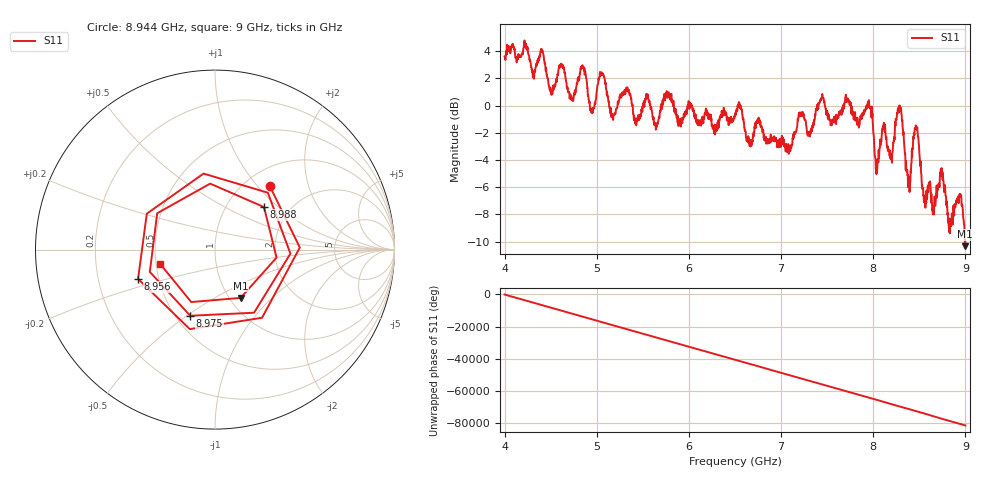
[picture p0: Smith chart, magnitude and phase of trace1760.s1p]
! Created with skrf 1.8.0 (http://scikit-rf.org).
# Hz S RI R 50.0
!freq ReS11 ImS11
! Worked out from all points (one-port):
!   1601 points, 4 GHz to 9 GHz, reference 50 ohm
!   lowest |S11| = -10.3 dB at 8.994 GHz (marker M1), VSWR 1.88, Z = 56.2 - j33.3 ohm
!   |S11| at or under -10 dB: 8.993117 GHz to 8.996175 GHz (3.058 MHz wide, 0.034 % of centre); 8.99929 GHz to end of sweep
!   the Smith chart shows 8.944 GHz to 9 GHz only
!   S11 on the Smith chart (normalised r, x): 8.944 GHz: 1.29, +1.16; 8.956 GHz: 0.38, -0.16; 8.975 GHz: 0.59, -0.52; 8.988 GHz: 1.49, +0.81; 9 GHz: 0.53, -0.10
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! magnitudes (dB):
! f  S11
! 4 GHz  3.6
! 4.403 GHz  4.1
! 4.509 GHz  0.8
! 4.625 GHz  2.8
! 4.728 GHz  0.5
! 4.856 GHz  2.7
! 4.95 GHz  -0.3
! 5.05 GHz  2.4
! 5.162 GHz  -0.8
! 5.25 GHz  0.6
! 5.875 GHz  -1.0
! 6.5 GHz  -0.6
! 7.125 GHz  -2.4
! 7.75 GHz  0.2
! 7.966 GHz  -0.2
! 8.041 GHz  -4.9
! 8.284 GHz  0.0
! 8.375 GHz  -5.1
! 8.466 GHz  -1.6
! 8.559 GHz  -7.0
! 8.747 GHz  -5.2
! 8.838 GHz  -8.7
! 8.944 GHz  -6.6
! 8.956 GHz  -6.8
! 8.975 GHz  -8.1
! 8.988 GHz  -8.8
! 8.994 GHz  -10.3
! 9 GHz  -10.0
